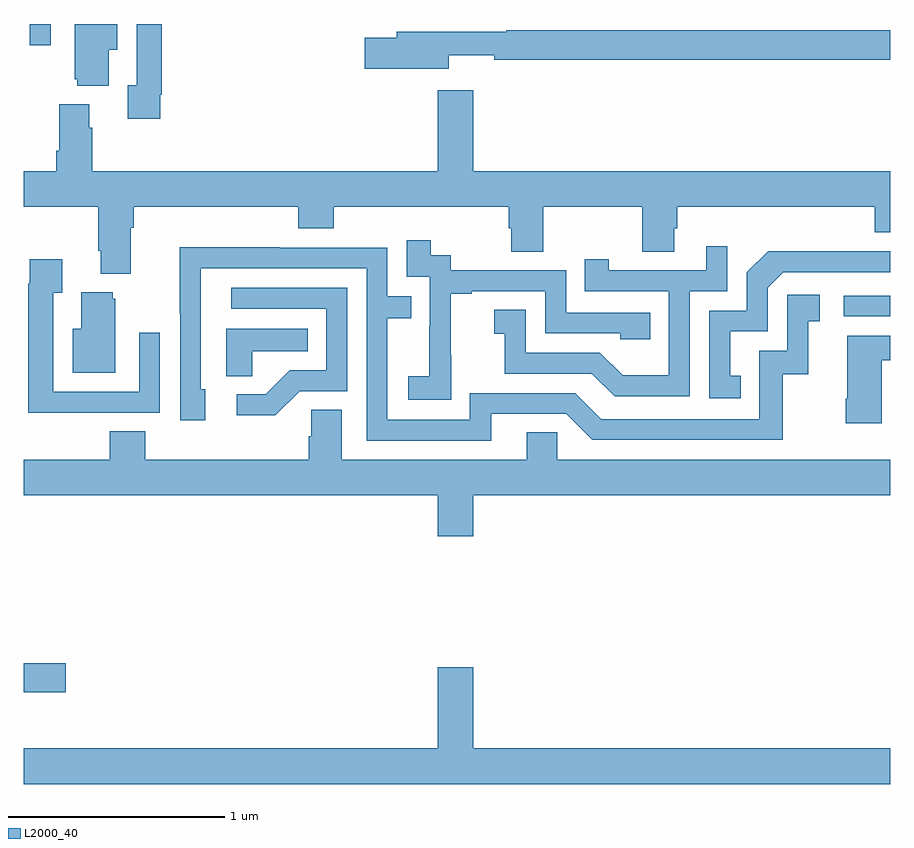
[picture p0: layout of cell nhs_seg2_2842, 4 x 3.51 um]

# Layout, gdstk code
import gdstk
lib = gdstk.Library(unit=1e-6, precision=1e-09)
def R(c, l, rs):  # rectangles x0, y0, x1, y1
    for r in rs: c.add(gdstk.rectangle(r[:2], r[2:], *l))
def P(c, l, *ps):  # polygons
    for p in ps: c.add(gdstk.Polygon(p, *l))
L2000_40 = (2000, 40)

nhs_seg2_2842 = lib.new_cell('nhs_seg2_2842')
R(nhs_seg2_2842, L2000_40, [(259,658.715,259.195,658.85), (262.785,660.45,263,660.546), (259.029,661.701,259.125,661.8)])
P(nhs_seg2_2842, L2000_40, [(259.63,661.474),(259.637,661.474),(259.637,661.8),(259.521,661.8),(259.521,661.518),(259.481,661.518),(259.481,661.362),(259.63,661.362)],
  [(259.393,661.682),(259.432,661.682),(259.432,661.8),(259.235,661.8),(259.235,661.545),(259.247,661.545),(259.247,661.514),(259.393,661.514)],
  [(260.962,661.655),(261.172,661.655),(261.172,661.636),(263,661.636),(263,661.772),(261.227,661.772),(261.227,661.765),(260.723,661.765),(260.723,661.736),(260.574,661.736),(260.574,661.594),(260.962,661.594)],
  [(259.495,660.86),(259.508,660.86),(259.508,660.956),(260.267,660.956),(260.267,660.857),(260.432,660.857),(260.432,660.956),(261.239,660.956),(261.239,660.858),(261.251,660.858),(261.251,660.748),(261.399,660.748),(261.399,660.956),(261.856,660.956),(261.856,660.748),(262.003,660.748),(262.003,660.858),(262.016,660.858),(262.016,660.956),(262.928,660.956),(262.928,660.839),(263,660.839),(263,661.12),(261.076,661.12),(261.076,661.495),(260.912,661.495),(260.912,661.12),(259.316,661.12),(259.316,661.322),(259.303,661.322),(259.303,661.429),(259.163,661.429),(259.163,661.216),(259.151,661.216),(259.151,661.12),(259,661.12),(259,660.956),(259.343,660.956),(259.343,660.754),(259.355,660.754),(259.355,660.647),(259.495,660.647)],
  [(260.973,660.271),(260.972,660.271),(260.972,660.555),(261.067,660.555),(261.067,660.567),(261.408,660.567),(261.408,660.372),(261.753,660.372),(261.753,660.345),(261.893,660.345),(261.893,660.468),(261.504,660.468),(261.504,660.663),(260.97,660.663),(260.97,660.732),(260.878,660.732),(260.878,660.802),(260.769,660.802),(260.769,660.633),(260.874,660.633),(260.874,660.404),(260.873,660.404),(260.873,660.175),(260.775,660.175),(260.775,660.065),(260.973,660.065)],
  [(262.074,660.567),(262.248,660.567),(262.248,660.775),(262.151,660.775),(262.151,660.663),(261.7,660.663),(261.7,660.715),(261.589,660.715),(261.589,660.567),(261.978,660.567),(261.978,660.178),(261.764,660.178),(261.66,660.282),(261.318,660.282),(261.318,660.481),(261.171,660.481),(261.171,660.371),(261.22,660.371),(261.22,660.186),(261.623,660.186),(261.728,660.081),(262.074,660.081)],
  [(261.157,660),(261.504,660),(261.624,659.88),(262.504,659.88),(262.504,660.183),(262.622,660.183),(262.622,660.429),(262.675,660.429),(262.675,660.55),(262.524,660.55),(262.524,660.291),(262.395,660.291),(262.395,659.976),(261.666,659.976),(261.546,660.096),(261.06,660.096),(261.06,659.973),(260.679,659.973),(260.679,660.442),(260.789,660.442),(260.789,660.543),(260.679,660.543),(260.679,660.768),(260.183,660.768),(260.183,660.77),(259.72,660.77),(259.72,660.463),(259.722,660.463),(259.722,659.97),(259.837,659.97),(259.837,660.114),(259.818,660.114),(259.818,660.672),(260.583,660.672),(260.583,659.877),(261.157,659.877)],
  [(262.31,660.177),(262.261,660.177),(262.261,660.381),(262.434,660.381),(262.434,660.582),(262.506,660.654),(263,660.654),(263,660.75),(262.844,660.75),(262.844,660.752),(262.436,660.752),(262.338,660.654),(262.338,660.477),(262.164,660.477),(262.164,660.072),(262.31,660.072)],
  [(259.313,660.006),(259.629,660.006),(259.629,660.376),(259.533,660.376),(259.533,660.102),(259.137,660.102),(259.137,660.559),(259.177,660.559),(259.177,660.715),(259.029,660.715),(259.029,660.602),(259.021,660.602),(259.021,660.005),(259.313,660.005)],
  [(260.274,660.105),(260.493,660.105),(260.493,660.582),(259.959,660.582),(259.959,660.486),(260.397,660.486),(260.397,660.201),(260.228,660.201),(260.117,660.09),(259.983,660.09),(259.983,659.993),(260.161,659.993)],
  [(259.423,660.531),(259.412,660.531),(259.412,660.562),(259.265,660.562),(259.265,660.394),(259.226,660.394),(259.226,660.191),(259.423,660.191)],
  [(260.055,660.29),(260.312,660.29),(260.312,660.394),(259.934,660.394),(259.934,660.175),(260.055,660.175)],
  [(262.96,660.247),(263,660.247),(263,660.361),(262.802,660.361),(262.802,660.07),(262.795,660.07),(262.795,659.958),(262.96,659.958)],
  [(261.076,659.624),(263,659.624),(263,659.788),(261.462,659.788),(261.462,659.915),(261.323,659.915),(261.323,659.788),(260.467,659.788),(260.467,660.02),(260.328,660.02),(260.328,659.897),(260.315,659.897),(260.315,659.788),(259.562,659.788),(259.562,659.921),(259.397,659.921),(259.397,659.788),(259,659.788),(259,659.624),(260.912,659.624),(260.912,659.436),(261.076,659.436)],
  [(263,658.456),(261.076,658.456),(261.076,658.831),(260.912,658.831),(260.912,658.456),(259,658.456),(259,658.292),(263,658.292)])

lib.write_gds('nhs_seg2_2842.gds')
